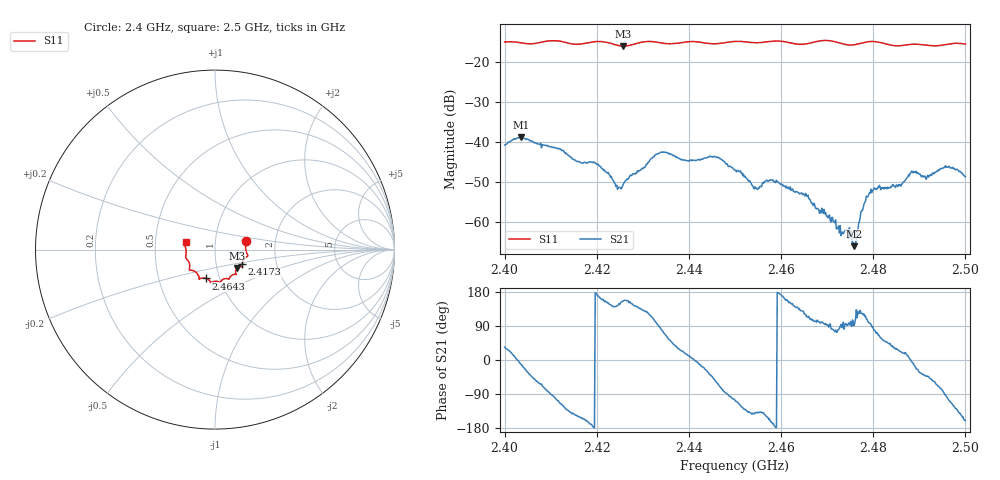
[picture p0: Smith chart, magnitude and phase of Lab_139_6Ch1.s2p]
# Hz S RI R 50
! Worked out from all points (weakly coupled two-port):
!   601 points, 2.4 GHz to 2.5 GHz, reference 50 ohm
!   highest |S21| = -38.81 dB at 2.4035 GHz (marker M1); lowest = -66.0 dB at 2.4758 GHz (marker M2)
!   lowest |S11| = -15.9 dB at 2.4257 GHz (marker M3), VSWR 1.38, Z = 62.4 - j13.1 ohm
!   |S11| at or under -10 dB: start of sweep to end of sweep
!   S12 and S22 are empty: the file has one direction only
!   S11 on the Smith chart (normalised r, x): 2.4 GHz: 1.41, +0.14; 2.4173 GHz: 1.34, -0.23; 2.4643 GHz: 0.86, -0.28; 2.5 GHz: 0.72, +0.06
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2.4e9  0.1733 0.0486  0.00766 0.00518  0 0  0 0
2.4035e9  0.1734 0.0302  0.0113 -0.00207  0 0  0 0
2.416667e9  0.1528 -0.0747  -0.00495 -0.00246  0 0  0 0
2.417333e9  0.1519 -0.0822  -0.00514 -0.00223  0 0  0 0
2.419833e9  0.1535 -0.0975  -0.00535 0.000402  0 0  0 0
2.4245e9  0.1321 -0.0963  -0.00207 0.00154  0 0  0 0
2.425667e9  0.1227 -0.1025  -0.00261 0.0012  0 0  0 0
2.433333e9  0.1128 -0.137  -0.000242 0.00715  0 0  0 0
2.439667e9  0.0791 -0.1623  0.0057 0.00139  0 0  0 0
2.445833e9  0.0484 -0.1641  0.00362 -0.00542  0 0  0 0
2.45e9  0.0289 -0.1809  -0.00124 -0.00433  0 0  0 0
2.4545e9  0.00608 -0.1761  -0.00202 -0.00173  0 0  0 0
2.457833e9  -0.0183 -0.1823  -0.00322 -0.000928  0 0  0 0
2.464333e9  -0.0498 -0.1606  -0.00147 0.00175  0 0  0 0
2.466667e9  -0.0759 -0.1593  -0.000447 0.00166  0 0  0 0
2.475833e9  -0.1146 -0.1203  -6.17e-06 0.0005  0 0  0 0
2.479e9  -0.1409 -0.1148  -0.000343 0.00219  0 0  0 0
2.483333e9  -0.1406 -0.09  0.00192 0.00183  0 0  0 0
2.4885e9  -0.1618 -0.0478  0.00418 -0.000502  0 0  0 0
2.4915e9  -0.1616 -0.0303  0.00251 -0.00235  0 0  0 0
2.496e9  -0.1666 0.0196  -0.000735 -0.00486  0 0  0 0
2.5e9  -0.1638 0.0424  -0.00348 -0.00128  0 0  0 0
